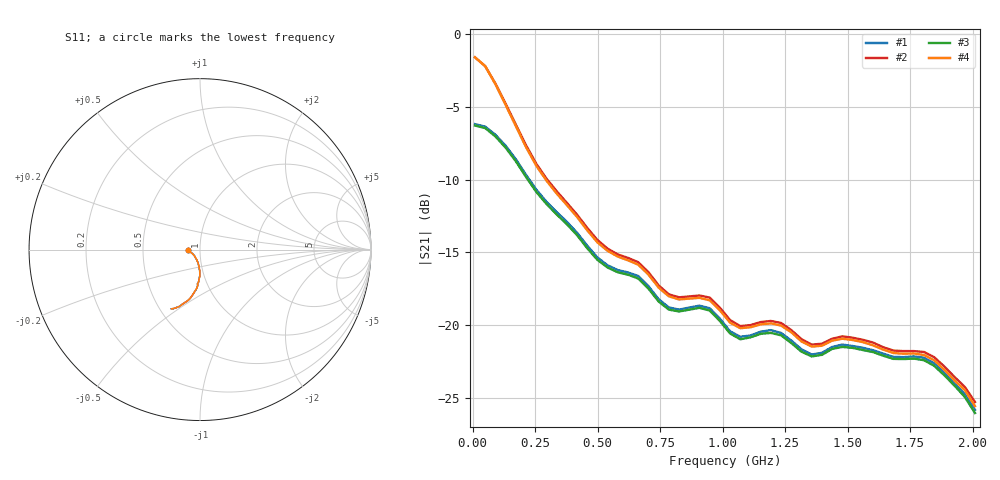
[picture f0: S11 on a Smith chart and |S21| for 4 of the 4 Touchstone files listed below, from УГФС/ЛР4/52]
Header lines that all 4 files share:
# MHz S MA R 50
!  freq  S11  S21  S12  S22
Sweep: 10 MHz to 2.01 GHz
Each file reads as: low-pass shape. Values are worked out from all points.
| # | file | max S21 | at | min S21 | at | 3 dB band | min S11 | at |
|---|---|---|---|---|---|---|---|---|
| 1 | 6ma.s2p | -6.17 dB | 10 MHz | -25.8 dB | 2.01 GHz | 10 MHz-173.3 MHz | -26.3 dB | 581.4 MHz |
| 2 | 12ma.s2p | -1.58 dB | 10 MHz | -25.3 dB | 2.01 GHz | 10 MHz-91.63 MHz | -26.2 dB | 540.6 MHz |
| 3 | vverh6ma.s2p | -6.26 dB | 10 MHz | -26.0 dB | 2.01 GHz | 10 MHz-173.3 MHz | -26.3 dB | 581.4 MHz |
| 4 | vverh12ma.s2p | -1.57 dB | 10 MHz | -25.6 dB | 2.01 GHz | 10 MHz-91.63 MHz | -26.3 dB | 581.4 MHz |
